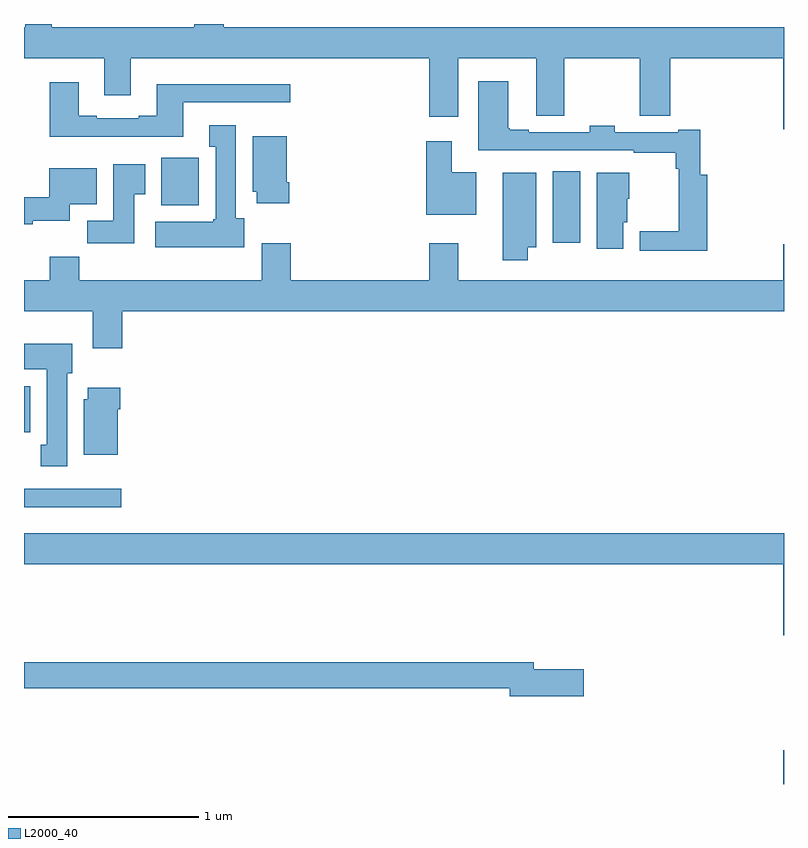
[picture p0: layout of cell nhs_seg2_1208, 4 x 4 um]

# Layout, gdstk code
import gdstk
lib = gdstk.Library(unit=1e-6, precision=1e-09)
def R(c, l, rs):  # rectangles x0, y0, x1, y1
    for r in rs: c.add(gdstk.rectangle(r[:2], r[2:], *l))
def P(c, l, *ps):  # polygons
    for p in ps: c.add(gdstk.Polygon(p, *l))
L2000_40 = (2000, 40)

nhs_seg2_1208 = lib.new_cell('nhs_seg2_1208')
R(nhs_seg2_1208, L2000_40, [(176.996,659.8,177,659.977), (173,661.256,173.512,661.353), (173,661.652,173.032,661.894), (175.784,662.649,175.927,663.025), (173.723,662.846,173.919,663.097)])
P(nhs_seg2_1208, L2000_40, [(173.145,663.8),(173.007,663.8),(173.007,663.784),(173,663.784),(173,663.62),(173.423,663.62),(173.423,663.426),(173.563,663.426),(173.563,663.62),(175.133,663.62),(175.133,663.312),(175.285,663.312),(175.285,663.62),(175.697,663.62),(175.697,663.316),(175.844,663.316),(175.844,663.62),(176.242,663.62),(176.242,663.316),(176.402,663.316),(176.402,663.62),(176.996,663.62),(176.996,663.246),(177,663.246),(177,663.784),(174.05,663.784),(174.05,663.8),(173.897,663.8),(173.897,663.784),(173.145,663.784)],
  [(176.597,663.007),(176.56,663.007),(176.56,663.244),(176.444,663.244),(176.444,663.231),(176.109,663.231),(176.109,663.264),(175.977,663.264),(175.977,663.231),(175.657,663.231),(175.657,663.244),(175.557,663.244),(175.557,663.252),(175.549,663.252),(175.549,663.499),(175.391,663.499),(175.391,663.135),(176.209,663.135),(176.209,663.123),(176.431,663.123),(176.431,663.038),(176.446,663.038),(176.446,662.708),(176.241,662.708),(176.241,662.606),(176.597,662.606)],
  [(173.839,663.387),(174.4,663.387),(174.4,663.484),(173.699,663.484),(173.699,663.316),(173.603,663.316),(173.603,663.303),(173.383,663.303),(173.383,663.316),(173.287,663.316),(173.287,663.493),(173.135,663.493),(173.135,663.206),(173.839,663.206)],
  [(174.16,662.778),(174.115,662.778),(174.115,663.268),(173.975,663.268),(173.975,663.155),(174.008,663.155),(174.008,662.772),(173.995,662.772),(173.995,662.758),(173.691,662.758),(173.691,662.624),(174.16,662.624)],
  [(174.395,662.968),(174.382,662.968),(174.382,663.208),(174.203,663.208),(174.203,662.916),(174.224,662.916),(174.224,662.856),(174.395,662.856)],
  [(175.381,663.019),(175.252,663.019),(175.252,663.184),(175.118,663.184),(175.118,662.795),(175.381,662.795)],
  [(173.581,662.905),(173.638,662.905),(173.638,663.061),(173.471,663.061),(173.471,662.764),(173.332,662.764),(173.332,662.646),(173.581,662.646)],
  [(173.046,662.765),(173.242,662.765),(173.242,662.852),(173.383,662.852),(173.383,663.04),(173.132,663.04),(173.132,662.888),(173,662.888),(173,662.746),(173.046,662.746)],
  [(176.155,662.757),(176.176,662.757),(176.176,662.88),(176.185,662.88),(176.185,663.016),(176.015,663.016),(176.015,662.616),(176.155,662.616)],
  [(175.65,662.624),(175.696,662.624),(175.696,663.016),(175.52,663.016),(175.52,662.556),(175.65,662.556)],
  [(173.516,662.288),(177,662.288),(177,662.641),(176.996,662.641),(176.996,662.452),(175.285,662.452),(175.285,662.647),(175.133,662.647),(175.133,662.452),(174.404,662.452),(174.404,662.647),(174.251,662.647),(174.251,662.452),(173.291,662.452),(173.291,662.576),(173.135,662.576),(173.135,662.452),(173,662.452),(173,662.288),(173.363,662.288),(173.363,662.094),(173.516,662.094)],
  [(173.227,661.962),(173.254,661.962),(173.254,662.116),(173,662.116),(173,661.982),(173.12,661.982),(173.12,661.586),(173.087,661.586),(173.087,661.473),(173.227,661.473)],
  [(173.494,661.772),(173.507,661.772),(173.507,661.885),(173.336,661.885),(173.336,661.824),(173.315,661.824),(173.315,661.532),(173.494,661.532)],
  [(177,661.12),(173,661.12),(173,660.956),(176.996,660.956),(176.996,660.582),(177,660.582)],
  [(175.945,660.404),(175.684,660.404),(175.684,660.44),(173,660.44),(173,660.304),(175.556,660.304),(175.556,660.262),(175.945,660.262)])

lib.write_gds('nhs_seg2_1208.gds')
